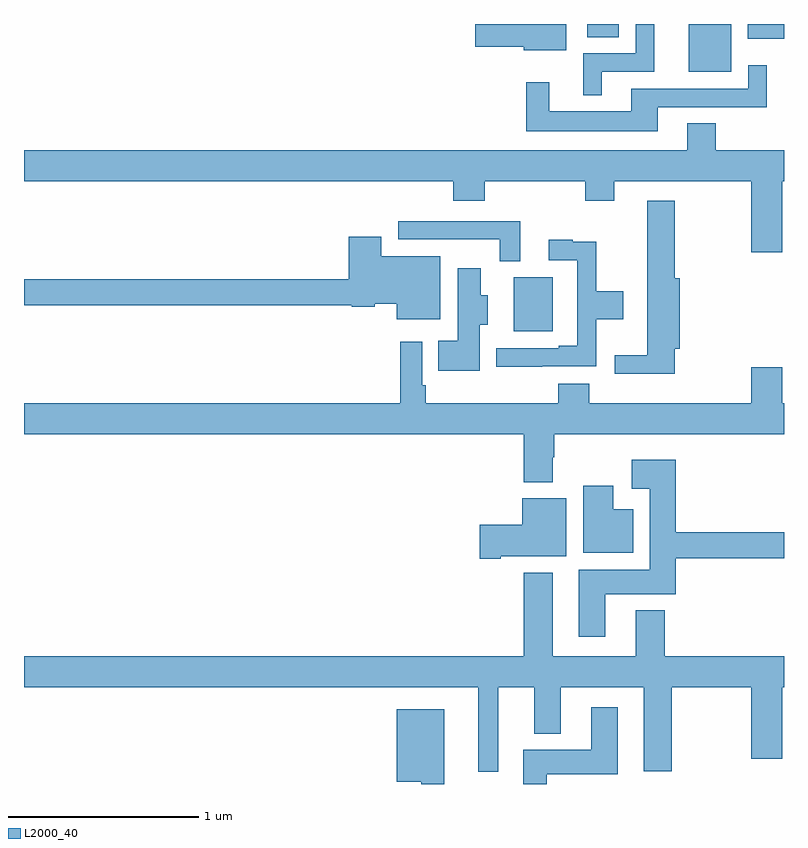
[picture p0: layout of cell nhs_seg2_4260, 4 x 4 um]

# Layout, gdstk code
import gdstk
lib = gdstk.Library(unit=1e-6, precision=1e-09)
def R(c, l, rs):  # rectangles x0, y0, x1, y1
    for r in rs: c.add(gdstk.rectangle(r[:2], r[2:], *l))
def P(c, l, *ps):  # polygons
    for p in ps: c.add(gdstk.Polygon(p, *l))
L2000_40 = (2000, 40)

nhs_seg2_4260 = lib.new_cell('nhs_seg2_4260')
R(nhs_seg2_4260, L2000_40, [(343.577,644.183,343.783,644.467), (344.498,645.548,344.722,645.8), (344.81,645.722,345,645.8), (343.964,645.73,344.131,645.8)])
P(nhs_seg2_4260, L2000_40, [(344.041,645.549),(344.318,645.549),(344.318,645.8),(344.22,645.8),(344.22,645.645),(343.943,645.645),(343.943,645.425),(344.041,645.425)],
  [(343.855,645.8),(343.376,645.8),(343.376,645.68),(343.629,645.68),(343.629,645.662),(343.855,645.662)],
  [(344.335,645.363),(344.909,645.363),(344.909,645.583),(344.811,645.583),(344.811,645.459),(344.195,645.459),(344.195,645.34),(343.765,645.34),(343.765,645.493),(343.644,645.493),(343.644,645.236),(344.335,645.236)],
  [(344.992,644.972),(345,644.972),(345,645.136),(344.64,645.136),(344.64,645.278),(344.492,645.278),(344.492,645.136),(341,645.136),(341,644.972),(343.259,644.972),(343.259,644.87),(343.424,644.87),(343.424,644.972),(343.955,644.972),(343.955,644.87),(344.107,644.87),(344.107,644.972),(344.828,644.972),(344.828,644.598),(344.992,644.598)],
  [(344.424,644.091),(344.45,644.091),(344.45,644.463),(344.424,644.463),(344.424,644.869),(344.279,644.869),(344.279,644.057),(344.109,644.057),(344.109,643.958),(344.424,643.958)],
  [(343.612,644.763),(342.969,644.763),(342.969,644.667),(343.288,644.667),(343.288,644.666),(343.503,644.666),(343.503,644.552),(343.612,644.552)],
  [(343.192,644.578),(342.88,644.578),(342.88,644.68),(342.71,644.68),(342.71,644.456),(341,644.456),(341,644.32),(342.726,644.32),(342.726,644.312),(342.846,644.312),(342.846,644.327),(342.962,644.327),(342.962,644.246),(343.192,644.246)],
  [(343.727,643.998),(344.012,643.998),(344.012,644.246),(344.155,644.246),(344.155,644.394),(344.012,644.394),(344.012,644.654),(343.889,644.654),(343.889,644.665),(343.761,644.665),(343.761,644.556),(343.911,644.556),(343.911,644.107),(343.814,644.107),(343.814,644.094),(343.485,644.094),(343.485,643.997),(343.727,643.997)],
  [(343.399,644.218),(343.441,644.218),(343.441,644.373),(343.405,644.373),(343.405,644.515),(343.283,644.515),(343.283,644.134),(343.18,644.134),(343.18,643.976),(343.399,643.976)],
  [(342.979,644.128),(342.979,643.804),(341,643.804),(341,643.64),(343.631,643.64),(343.631,643.388),(343.783,643.388),(343.783,643.52),(343.791,643.52),(343.791,643.64),(345,643.64),(345,643.804),(344.992,643.804),(344.992,643.993),(344.828,643.993),(344.828,643.804),(343.976,643.804),(343.976,643.906),(343.811,643.906),(343.811,643.804),(343.115,643.804),(343.115,643.9),(343.095,643.9),(343.095,644.128)],
  [(344.059,642.8),(344.429,642.8),(344.429,642.988),(345,642.988),(345,643.124),(344.429,643.124),(344.429,643.507),(344.199,643.507),(344.199,643.355),(344.294,643.355),(344.294,642.928),(343.919,642.928),(343.919,642.576),(344.059,642.576)],
  [(344.206,643.246),(344.101,643.246),(344.101,643.369),(343.943,643.369),(343.943,643.016),(344.206,643.016)],
  [(343.51,642.998),(343.855,642.998),(343.855,643.303),(343.622,643.303),(343.622,643.164),(343.398,643.164),(343.398,642.986),(343.51,642.986)],
  [(343.495,642.308),(343.685,642.308),(343.685,642.065),(343.825,642.065),(343.825,642.308),(344.261,642.308),(344.261,641.867),(344.409,641.867),(344.409,642.308),(344.828,642.308),(344.828,641.934),(344.992,641.934),(344.992,642.308),(345,642.308),(345,642.472),(344.372,642.472),(344.372,642.715),(344.219,642.715),(344.219,642.472),(343.783,642.472),(343.783,642.913),(343.631,642.913),(343.631,642.472),(341,642.472),(341,642.308),(343.391,642.308),(343.391,641.864),(343.495,641.864)],
  [(343.75,641.852),(344.125,641.852),(344.125,642.205),(343.985,642.205),(343.985,641.98),(343.628,641.98),(343.628,641.8),(343.75,641.8)],
  [(343.213,642.193),(342.962,642.193),(342.962,641.813),(343.092,641.813),(343.092,641.8),(343.213,641.8)])

lib.write_gds('nhs_seg2_4260.gds')
